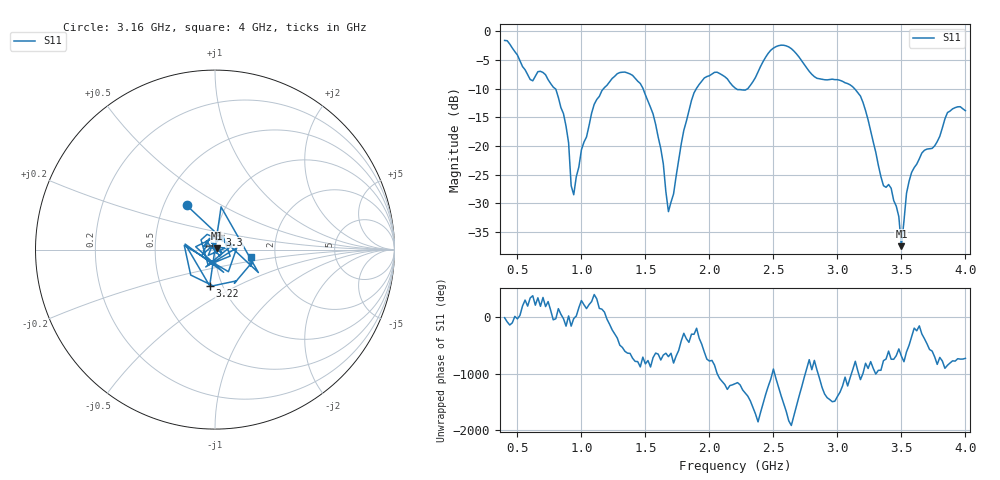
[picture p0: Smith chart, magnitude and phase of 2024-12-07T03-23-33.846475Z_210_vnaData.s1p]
!Created with skrf (http://scikit-rf.org).
# Hz S RI R 50.0
!freq ReS11 ImS11
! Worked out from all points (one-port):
!   181 points, 400 MHz to 4 GHz, reference 50 ohm
!   lowest |S11| = -37.5 dB at 3.5 GHz (marker M1), VSWR 1.03, Z = 51.2 + j0.637 ohm
!   |S11| at or under -10 dB: 796.4 MHz to 1.172 GHz (376 MHz wide, 38.2 % of centre); 1.482 GHz to 1.898 GHz (415.5 MHz wide, 24.6 % of centre); 3.135 GHz to end of sweep (the widest 3 of 4)
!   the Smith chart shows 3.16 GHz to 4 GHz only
!   S11 on the Smith chart (normalised r, x): 3.16 GHz: 0.65, +0.35; 3.22 GHz: 0.87, -0.37; 3.3 GHz: 1.04, +0.18; 4 GHz: 1.49, -0.13
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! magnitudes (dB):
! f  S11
! 400 MHz  -1.6
! 600 MHz  -8.4
! 720 MHz  -7.6
! 860 MHz  -14.3
! 940 MHz  -28.5
! 1.1 GHz  -12.7
! 1.3 GHz  -7.2
! 1.46 GHz  -9.1
! 1.56 GHz  -14.4
! 1.64 GHz  -23.1
! 1.68 GHz  -31.4
! 1.76 GHz  -22.4
! 1.92 GHz  -9.2
! 2.06 GHz  -7.1
! 2.2 GHz  -9.9
! 2.3 GHz  -10.0
! 2.5 GHz  -2.9
! 2.66 GHz  -3.4
! 2.84 GHz  -8.2
! 3.1 GHz  -9.3
! 3.16 GHz  -10.7
! 3.22 GHz  -13.8
! 3.3 GHz  -21.1
! 3.46 GHz  -30.5
! 3.5 GHz  -37.5
! 3.56 GHz  -26.1
! 3.86 GHz  -14.2
! 4 GHz  -13.8
